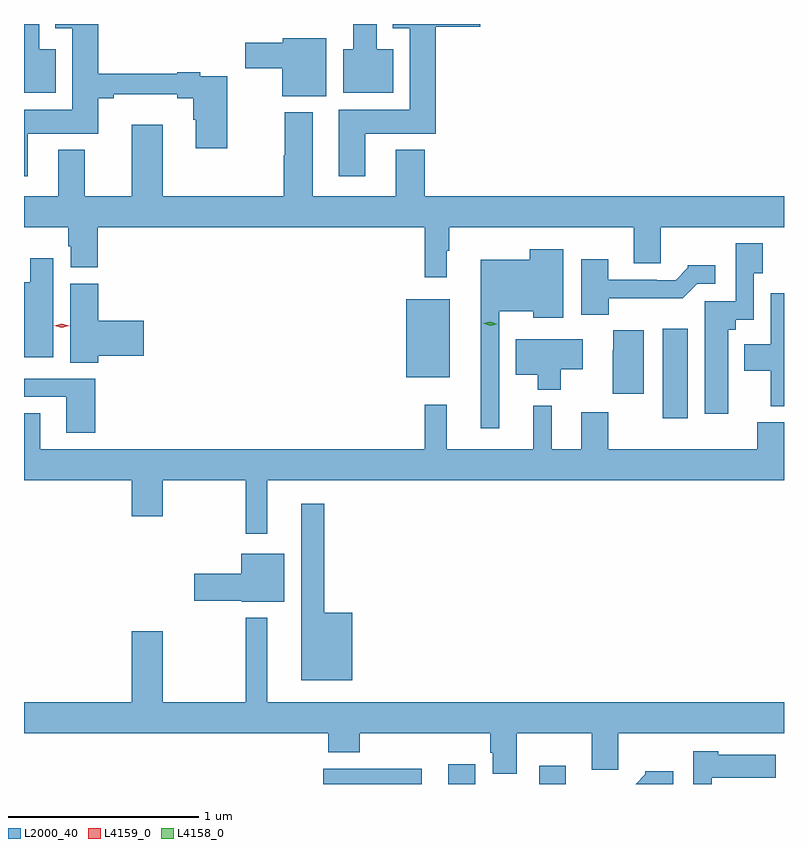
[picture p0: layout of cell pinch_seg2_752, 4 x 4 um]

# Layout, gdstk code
import gdstk
lib = gdstk.Library(unit=1e-6, precision=1e-09)
def R(c, l, rs):  # rectangles x0, y0, x1, y1
    for r in rs: c.add(gdstk.rectangle(r[:2], r[2:], *l))
def P(c, l, *ps):  # polygons
    for p in ps: c.add(gdstk.Polygon(p, *l))
L2000_40 = (2000, 40)
L4158_0 = (4158, 0)
L4159_0 = (4159, 0)

pinch_seg2_752 = lib.new_cell('pinch_seg2_752')
R(pinch_seg2_752, L2000_40, [(693.488,660.69,694.006,660.77), (694.145,660.69,694.288,660.793), (694.625,660.69,694.765,660.787), (695.276,662.616,695.407,663.085), (693.926,662.831,694.153,663.241)])
P(pinch_seg2_752, L2000_40, [(693.856,664.558),(693.769,664.558),(693.769,664.69),(693.647,664.69),(693.647,664.558),(693.593,664.558),(693.593,664.328),(693.856,664.328)],
  [(692.08,664.558),(691.993,664.558),(691.993,664.69),(691.913,664.69),(691.913,664.328),(692.08,664.328)],
  [(693.709,664.112),(694.079,664.112),(694.079,664.676),(694.315,664.676),(694.315,664.69),(693.854,664.69),(693.854,664.667),(693.944,664.667),(693.944,664.24),(693.569,664.24),(693.569,663.888),(693.709,663.888)],
  [(691.933,664.112),(692.303,664.112),(692.303,664.3),(692.386,664.3),(692.386,664.319),(692.72,664.319),(692.72,664.3),(692.804,664.3),(692.804,664.185),(692.816,664.185),(692.816,664.035),(692.982,664.035),(692.982,664.416),(692.84,664.416),(692.84,664.436),(692.72,664.436),(692.72,664.429),(692.303,664.429),(692.303,664.69),(692.078,664.69),(692.078,664.667),(692.168,664.667),(692.168,664.24),(691.913,664.24),(691.913,663.888),(691.933,663.888)],
  [(693.505,664.615),(693.276,664.615),(693.276,664.591),(693.078,664.591),(693.078,664.457),(693.272,664.457),(693.272,664.31),(693.505,664.31)],
  [(694.138,663.497),(694.15,663.497),(694.15,663.62),(695.123,663.62),(695.123,663.43),(695.263,663.43),(695.263,663.62),(695.913,663.62),(695.913,663.784),(694.022,663.784),(694.022,664.027),(693.869,664.027),(693.869,663.784),(693.433,663.784),(693.433,664.225),(693.286,664.225),(693.286,663.999),(693.281,663.999),(693.281,663.784),(692.644,663.784),(692.644,664.159),(692.48,664.159),(692.48,663.784),(692.233,663.784),(692.233,664.027),(692.093,664.027),(692.093,663.784),(691.913,663.784),(691.913,663.62),(692.147,663.62),(692.147,663.519),(692.159,663.519),(692.159,663.409),(692.3,663.409),(692.3,663.62),(694.021,663.62),(694.021,663.357),(694.138,663.357)],
  [(695.62,663.08),(695.659,663.08),(695.659,663.134),(695.754,663.134),(695.754,663.379),(695.802,663.379),(695.802,663.535),(695.658,663.535),(695.658,663.231),(695.495,663.231),(695.495,662.64),(695.62,662.64)],
  [(694.413,663.179),(694.592,663.179),(694.592,663.143),(694.75,663.143),(694.75,663.505),(694.575,663.505),(694.575,663.448),(694.316,663.448),(694.316,662.562),(694.413,662.562)],
  [(692.068,663.457),(691.946,663.457),(691.946,663.331),(691.913,663.331),(691.913,662.936),(692.068,662.936)],
  [(694.99,663.246),(695.379,663.246),(695.457,663.324),(695.551,663.324),(695.551,663.421),(695.406,663.421),(695.406,663.406),(695.342,663.342),(695.243,663.342),(695.243,663.345),(694.987,663.345),(694.987,663.451),(694.847,663.451),(694.847,663.161),(694.99,663.161)],
  [(692.303,662.945),(692.542,662.945),(692.542,663.128),(692.303,663.128),(692.303,663.324),(692.156,663.324),(692.156,662.908),(692.303,662.908)],
  [(695.913,663.274),(695.844,663.274),(695.844,663.004),(695.705,663.004),(695.705,662.864),(695.842,662.864),(695.842,662.678),(695.913,662.678)],
  [(695.176,663.079),(695.014,663.079),(695.014,662.972),(695.012,662.972),(695.012,662.745),(695.176,662.745)],
  [(694.738,662.873),(694.855,662.873),(694.855,663.031),(694.502,663.031),(694.502,662.843),(694.616,662.843),(694.616,662.765),(694.738,662.765)],
  [(692.288,662.823),(691.913,662.823),(691.913,662.727),(692.135,662.727),(692.135,662.538),(692.288,662.538)],
  [(695.913,662.593),(695.771,662.593),(695.771,662.452),(694.987,662.452),(694.987,662.647),(694.847,662.647),(694.847,662.452),(694.69,662.452),(694.69,662.68),(694.592,662.68),(694.592,662.452),(694.139,662.452),(694.139,662.686),(694.021,662.686),(694.021,662.452),(691.999,662.452),(691.999,662.642),(691.913,662.642),(691.913,662.288),(692.48,662.288),(692.48,662.1),(692.644,662.1),(692.644,662.288),(693.079,662.288),(693.079,662.007),(693.193,662.007),(693.193,662.288),(695.913,662.288)],
  [(693.64,661.591),(693.493,661.591),(693.493,662.164),(693.371,662.164),(693.371,661.235),(693.64,661.235)],
  [(693.283,661.903),(693.056,661.903),(693.056,661.797),(692.808,661.797),(692.808,661.655),(693.06,661.655),(693.06,661.649),(693.283,661.649)],
  [(694.507,660.956),(694.901,660.956),(694.901,660.766),(695.041,660.766),(695.041,660.956),(695.913,660.956),(695.913,661.12),(693.193,661.12),(693.193,661.564),(693.079,661.564),(693.079,661.12),(692.644,661.12),(692.644,661.495),(692.48,661.495),(692.48,661.12),(691.913,661.12),(691.913,660.956),(693.515,660.956),(693.515,660.857),(693.68,660.857),(693.68,660.956),(694.367,660.956),(694.367,660.855),(694.379,660.855),(694.379,660.745),(694.507,660.745)],
  [(695.532,660.722),(695.869,660.722),(695.869,660.844),(695.568,660.844),(695.568,660.862),(695.436,660.862),(695.436,660.69),(695.532,660.69)],
  [(695.329,660.757),(695.184,660.757),(695.184,660.742),(695.132,660.69),(695.329,660.69)])
P(pinch_seg2_752, L4158_0, [(694.367,663.103),(694.331,663.115),(694.331,663.115),(694.331,663.115),(694.368,663.123),(694.403,663.111),(694.403,663.111),(694.403,663.111)])
P(pinch_seg2_752, L4159_0, [(692.111,663.092),(692.072,663.101),(692.072,663.102),(692.072,663.102),(692.111,663.112),(692.15,663.102),(692.15,663.102),(692.15,663.101)])

lib.write_gds('pinch_seg2_752.gds')
